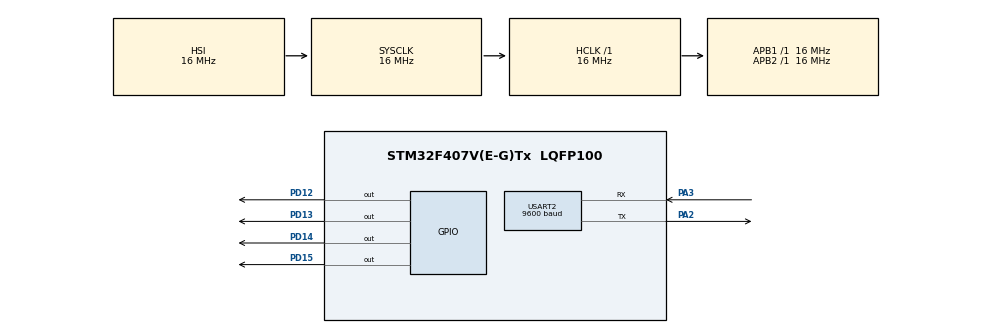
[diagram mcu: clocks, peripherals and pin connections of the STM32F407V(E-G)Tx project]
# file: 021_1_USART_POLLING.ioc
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Mcu.Family=STM32F4
Mcu.Name=STM32F407V(E-G)Tx
Mcu.Package=LQFP100
NVIC.PriorityGroup=NVIC_PRIORITYGROUP_4
PA2.Mode=Asynchronous
PA2.Signal=USART2_TX
PA3.Mode=Asynchronous
PA3.Signal=USART2_RX
PD12.Signal=GPIO_Output
PD13.Signal=GPIO_Output
PD14.Signal=GPIO_Output
PD15.Signal=GPIO_Output
ProjectManager.HeapSize=0x200
ProjectManager.StackSize=0x400
ProjectManager.TargetToolchain=STM32CubeIDE
RCC.AHBFreq_Value=16000000
RCC.APB1Freq_Value=16000000
RCC.APB2Freq_Value=16000000
RCC.CortexFreq_Value=16000000
RCC.HSE_VALUE=25000000
RCC.HSI_VALUE=16000000
RCC.LSE_VALUE=32768
RCC.SYSCLKFreq_VALUE=16000000
RCC.VCOOutputFreq_Value=192000000
USART2.BaudRate=9600
USART2.VirtualMode=VM_ASYNC
board=custom

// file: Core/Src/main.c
/* USER CODE BEGIN Header */
/**
  ******************************************************************************
  * @file           : main.c
  * @brief          : Main program body
  ******************************************************************************
  * @attention
  *
  * <h2><center>&copy; Copyright (c) 2021 STMicroelectronics.
  * All rights reserved.</center></h2>
  *
  * This software component is licensed by ST under BSD 3-Clause license,
  * the "License"; You may not use this file except in compliance with the
  * License. You may obtain a copy of the License at:
  *                        opensource.org/licenses/BSD-3-Clause
  *
  ******************************************************************************
  */
/* USER CODE END Header */
#include "main.h"

/* USER CODE BEGIN Includes */
#include "string.h"

/* USER CODE END Includes */

UART_HandleTypeDef huart2;

/* USER CODE BEGIN PV */

static char* UartTx = "MERHABA UART BASLADI\t\n";
static char* msg = "LED KODUNU GIRINIZ\t\n";
char rxBuffer[4]={"1","2","3","4"};

/* USER CODE END PV */

void SystemClock_Config(void);
static void MX_GPIO_Init(void);
static void MX_USART2_UART_Init(void);

int main(void)
{

  /* MCU Configuration--------------------------------------------------------*/

  /* Reset of all peripherals, Initializes the Flash interface and the Systick. */
  HAL_Init();

  /* Configure the system clock */
  SystemClock_Config();

  /* Initialize all configured peripherals */
  MX_GPIO_Init();
  MX_USART2_UART_Init();
  /* USER CODE BEGIN 2 */

  if(HAL_UART_Transmit(&huart2, (uint8_t *)UartTx, 25, 100)!=HAL_OK){
  	  Error_Handler();
    }
    if(HAL_UART_Transmit(&huart2, (uint8_t *)msg, 25, 100)!=HAL_OK){
  	  Error_Handler();
    }

  /* USER CODE END 2 */

  /* Infinite loop */
  /* USER CODE BEGIN WHILE */
  while (1)
  {
  	  HAL_UART_Receive(&huart2, (uint8_t *)rxBuffer, 4, 100);
  	  if(strncmp (rxBuffer, "LED1", 4)==0){
  		  if(HAL_UART_Transmit(&huart2, (uint8_t *)"LED1 YANDI\t\n", 12, 100)!=HAL_OK)
  		  {
  			  Error_Handler();
  		  }
  		  HAL_GPIO_WritePin(GPIOD, GPIO_PIN_12, GPIO_PIN_SET);
  		  HAL_GPIO_WritePin(GPIOD, GPIO_PIN_13, GPIO_PIN_SET);
  		  HAL_GPIO_WritePin(GPIOD, GPIO_PIN_14, GPIO_PIN_RESET);
  		  HAL_GPIO_WritePin(GPIOD, GPIO_PIN_15, GPIO_PIN_RESET);
  	  }
  	  else if(strncmp (rxBuffer, "LED2", 4)==0){
  		  if(HAL_UART_Transmit(&huart2, (uint8_t *)"LED2 YANDI\t\n", 12, 100)!=HAL_OK){
  			  Error_Handler();
  		  }
  		  HAL_GPIO_WritePin(GPIOD, GPIO_PIN_12, GPIO_PIN_RESET);
  		  HAL_GPIO_WritePin(GPIOD, GPIO_PIN_13, GPIO_PIN_RESET);
  		  HAL_GPIO_WritePin(GPIOD, GPIO_PIN_14, GPIO_PIN_SET);
  		  HAL_GPIO_WritePin(GPIOD, GPIO_PIN_15, GPIO_PIN_SET);
  	  }
    /* USER CODE END WHILE */

    }
}

void SystemClock_Config(void)
{
  RCC_OscInitTypeDef RCC_OscInitStruct = {0};
  RCC_ClkInitTypeDef RCC_ClkInitStruct = {0};

  /** Configure the main internal regulator output voltage
  */
  __HAL_RCC_PWR_CLK_ENABLE();
  __HAL_PWR_VOLTAGESCALING_CONFIG(PWR_REGULATOR_VOLTAGE_SCALE1);
  /** Initializes the RCC Oscillators according to the specified parameters
  * in the RCC_OscInitTypeDef structure.
  */
  RCC_OscInitStruct.OscillatorType = RCC_OSCILLATORTYPE_HSI;
  RCC_OscInitStruct.HSIState = RCC_HSI_ON;
  RCC_OscInitStruct.HSICalibrationValue = RCC_HSICALIBRATION_DEFAULT;
  RCC_OscInitStruct.PLL.PLLState = RCC_PLL_NONE;
  if (HAL_RCC_OscConfig(&RCC_OscInitStruct) != HAL_OK)
  {
    Error_Handler();
  }
  /** Initializes the CPU, AHB and APB buses clocks
  */
  RCC_ClkInitStruct.ClockType = RCC_CLOCKTYPE_HCLK|RCC_CLOCKTYPE_SYSCLK
                              |RCC_CLOCKTYPE_PCLK1|RCC_CLOCKTYPE_PCLK2;
  RCC_ClkInitStruct.SYSCLKSource = RCC_SYSCLKSOURCE_HSI;
  RCC_ClkInitStruct.AHBCLKDivider = RCC_SYSCLK_DIV1;
  RCC_ClkInitStruct.APB1CLKDivider = RCC_HCLK_DIV1;
  RCC_ClkInitStruct.APB2CLKDivider = RCC_HCLK_DIV1;

  if (HAL_RCC_ClockConfig(&RCC_ClkInitStruct, FLASH_LATENCY_0) != HAL_OK)
  {
    Error_Handler();
  }
}

static void MX_USART2_UART_Init(void)
{

  huart2.Instance = USART2;
  huart2.Init.BaudRate = 9600;
  huart2.Init.WordLength = UART_WORDLENGTH_8B;
  huart2.Init.StopBits = UART_STOPBITS_1;
  huart2.Init.Parity = UART_PARITY_NONE;
  huart2.Init.Mode = UART_MODE_TX_RX;
  huart2.Init.HwFlowCtl = UART_HWCONTROL_NONE;
  huart2.Init.OverSampling = UART_OVERSAMPLING_16;
  if (HAL_UART_Init(&huart2) != HAL_OK)
  {
    Error_Handler();
  }

}

static void MX_GPIO_Init(void)
{
  GPIO_InitTypeDef GPIO_InitStruct = {0};

  /* GPIO Ports Clock Enable */
  __HAL_RCC_GPIOA_CLK_ENABLE();
  __HAL_RCC_GPIOD_CLK_ENABLE();

  /*Configure GPIO pin Output Level */
  HAL_GPIO_WritePin(GPIOD, GPIO_PIN_12|GPIO_PIN_13|GPIO_PIN_14|GPIO_PIN_15, GPIO_PIN_RESET);

  /*Configure GPIO pins : PD12 PD13 PD14 PD15 */
  GPIO_InitStruct.Pin = GPIO_PIN_12|GPIO_PIN_13|GPIO_PIN_14|GPIO_PIN_15;
  GPIO_InitStruct.Mode = GPIO_MODE_OUTPUT_PP;
  GPIO_InitStruct.Pull = GPIO_NOPULL;
  GPIO_InitStruct.Speed = GPIO_SPEED_FREQ_LOW;
  HAL_GPIO_Init(GPIOD, &GPIO_InitStruct);

}

void Error_Handler(void)
{
  __disable_irq();
  while (1)
  {
  }
}

/************************ (C) COPYRIGHT STMicroelectronics *****END OF FILE****/
